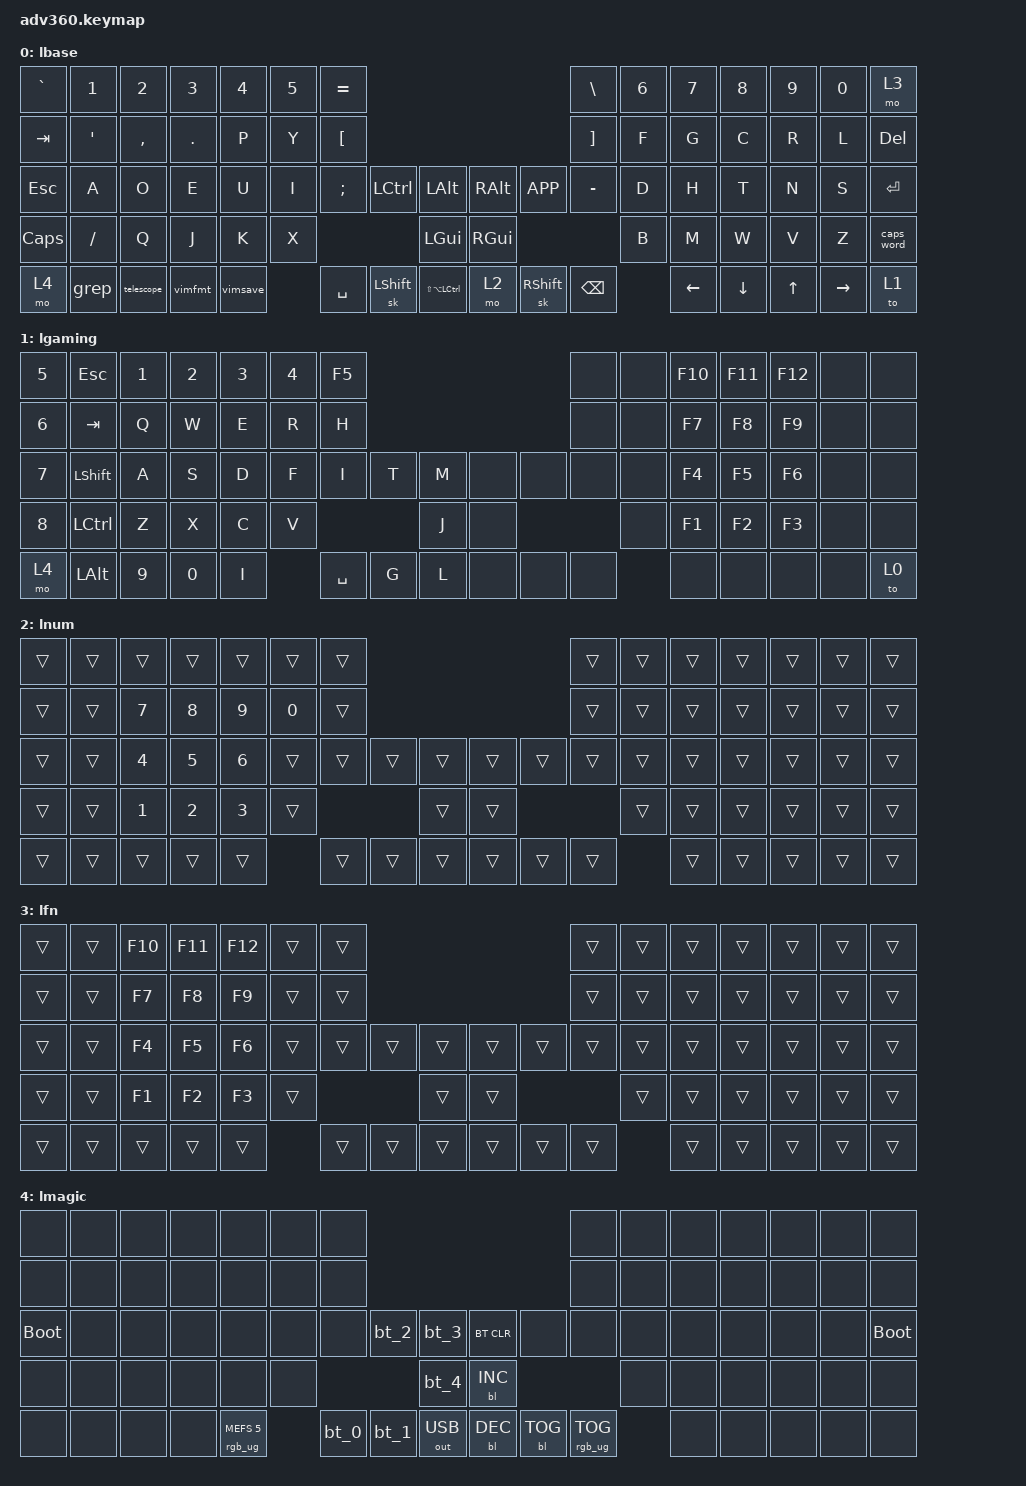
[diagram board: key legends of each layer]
#include <behaviors.dtsi>
#include <dt-bindings/zmk/backlight.h>
#include <dt-bindings/zmk/bt.h>
#include <dt-bindings/zmk/keys.h>
#include <dt-bindings/zmk/outputs.h>
#include <dt-bindings/zmk/rgb.h>

#define LBASE 0
#define LGAMING 1
#define LNAV 2
#define LNUM 3
#define LSYM 4
#define LFN 5
#define LMAGIC 6
#define HRM_A hrm LGUI A
#define HRM_O hrm LALT O
#define HRM_E hrm LCTRL E
#define HRM_U hrm_i LSHFT U
#define HRM_S hrm RGUI S
#define HRM_N hrm RALT N
#define HRM_T hrm RCTRL T
#define HRM_H hrm_i RSHFT H

&sk {
    quick-release;
    release-after-ms = <500>;
};

&sl { ignore-modifiers; };

/ {
    macros {
        bt_0: bt_0 {
            label = "BT_0";
            compatible = "zmk,behavior-macro";
            #binding-cells = <0>;
            bindings = <&out OUT_BLE &bt BT_SEL 0>;
        };

        bt_1: bt_1 {
            label = "BT_1";
            compatible = "zmk,behavior-macro";
            #binding-cells = <0>;
            bindings = <&out OUT_BLE &bt BT_SEL 1>;
        };

        bt_2: bt_2 {
            label = "BT_2";
            compatible = "zmk,behavior-macro";
            #binding-cells = <0>;
            bindings = <&out OUT_BLE &bt BT_SEL 2>;
        };

        bt_3: bt_3 {
            label = "BT_3";
            compatible = "zmk,behavior-macro";
            #binding-cells = <0>;
            bindings = <&out OUT_BLE &bt BT_SEL 3>;
        };

        bt_4: bt_4 {
            label = "BT_4";
            compatible = "zmk,behavior-macro";
            #binding-cells = <0>;
            bindings = <&out OUT_BLE &bt BT_SEL 4>;
        };

        vimsave: vimsave {
            compatible = "zmk,behavior-macro";
            #binding-cells = <0>;
            bindings = <&kp ESC &kp COLON &kp W &kp RET>;
            label = "VIMSAVE";
        };

        vimfmt: vimfmt {
            compatible = "zmk,behavior-macro";
            #binding-cells = <0>;
            bindings = <&kp ESCAPE &kp SPACE &kp F &kp F>;
            label = "VIMFMT";
        };

        telescope: telescope {
            compatible = "zmk,behavior-macro";
            #binding-cells = <0>;
            bindings = <&kp ESC &kp SPACE &kp P &kp F>;
            label = "TELESCOPE";
        };

        grep: grep {
            compatible = "zmk,behavior-macro";
            #binding-cells = <0>;
            bindings = <&kp ESC &kp SPACE &kp P &kp S>;
            label = "GREP";
        };
    };
};

/ {
    behaviors {
        plus_1: plus_1 {
            compatible = "zmk,behavior-mod-morph";
            label = "PLUS_1";
            bindings = <&kp PLUS>, <&kp NUMBER_1>;

            #binding-cells = <0>;
            mods = <(MOD_LSFT|MOD_RSFT)>;
            keep-mods = <(MOD_LCTL|MOD_LALT|MOD_LGUI|MOD_RCTL|MOD_RALT|MOD_RGUI)>;
        };

        lbrk_2: lbrk_2 {
            compatible = "zmk,behavior-mod-morph";
            label = "LBRK_2";
            bindings = <&kp LEFT_BRACKET>, <&kp NUMBER_2>;

            #binding-cells = <0>;
            mods = <(MOD_LSFT|MOD_RSFT)>;
            keep-mods = <(MOD_LCTL|MOD_LALT|MOD_LGUI|MOD_RCTL|MOD_RALT|MOD_RGUI)>;
        };

        lbrc_3: lbrc_3 {
            compatible = "zmk,behavior-mod-morph";
            label = "LBRC_3";
            bindings = <&kp LBRC>, <&kp NUMBER_3>;

            #binding-cells = <0>;
            mods = <(MOD_LSFT|MOD_RSFT)>;
            keep-mods = <(MOD_LCTL|MOD_LALT|MOD_LGUI|MOD_RCTL|MOD_RALT|MOD_RGUI)>;
        };

        lpar_4: lpar_4 {
            compatible = "zmk,behavior-mod-morph";
            label = "LPAR_4";
            bindings = <&kp LPAR>, <&kp NUMBER_4>;

            #binding-cells = <0>;
            mods = <(MOD_LSFT|MOD_RSFT)>;
            keep-mods = <(MOD_LCTL|MOD_LALT|MOD_LGUI|MOD_RCTL|MOD_RALT|MOD_RGUI)>;
        };

        amp_5: amp_5 {
            compatible = "zmk,behavior-mod-morph";
            label = "AMP_5";
            bindings = <&kp AMPS>, <&kp NUMBER_5>;

            #binding-cells = <0>;
            mods = <(MOD_LSFT|MOD_RSFT)>;
            keep-mods = <(MOD_LCTL|MOD_LALT|MOD_LGUI|MOD_RCTL|MOD_RALT|MOD_RGUI)>;
        };

        eq_6: eq_6 {
            compatible = "zmk,behavior-mod-morph";
            label = "EQ_6";
            bindings = <&kp EQUAL>, <&kp NUMBER_6>;

            #binding-cells = <0>;
            mods = <(MOD_LSFT|MOD_RSFT)>;
            keep-mods = <(MOD_LCTL|MOD_LALT|MOD_LGUI|MOD_RCTL|MOD_RALT|MOD_RGUI)>;
        };

        rpar_7: rpar_7 {
            compatible = "zmk,behavior-mod-morph";
            label = "RPAR_7";
            bindings = <&kp RPAR>, <&kp NUMBER_7>;

            #binding-cells = <0>;
            mods = <(MOD_LSFT|MOD_RSFT)>;
            keep-mods = <(MOD_LCTL|MOD_LALT|MOD_LGUI|MOD_RCTL|MOD_RALT|MOD_RGUI)>;
        };

        rbrc_8: rbrc_8 {
            compatible = "zmk,behavior-mod-morph";
            label = "RBRC_8";
            bindings = <&kp RBRC>, <&kp NUMBER_8>;

            #binding-cells = <0>;
            mods = <(MOD_LSFT|MOD_RSFT)>;
            keep-mods = <(MOD_LCTL|MOD_LALT|MOD_LGUI|MOD_RCTL|MOD_RALT|MOD_RGUI)>;
        };

        rbrk_9: rbrk_9 {
            compatible = "zmk,behavior-mod-morph";
            label = "RBRK_9";
            bindings = <&kp RIGHT_BRACKET>, <&kp N9>;

            #binding-cells = <0>;
            mods = <(MOD_LSFT|MOD_RSFT)>;
            keep-mods = <(MOD_LCTL|MOD_LALT|MOD_LGUI|MOD_RCTL|MOD_RALT|MOD_RGUI)>;
        };

        ast_0: ast_0 {
            compatible = "zmk,behavior-mod-morph";
            label = "AST_0";
            bindings = <&kp ASTRK>, <&kp NUMBER_0>;

            #binding-cells = <0>;
            mods = <(MOD_LSFT|MOD_RSFT)>;
            keep-mods = <(MOD_LCTL|MOD_LALT|MOD_LGUI|MOD_RCTL|MOD_RALT|MOD_RGUI)>;
        };

        exc_perc: exc_perc {
            compatible = "zmk,behavior-mod-morph";
            label = "EXC_PERC";
            bindings = <&kp EXCL>, <&kp PERCENT>;

            #binding-cells = <0>;
            mods = <(MOD_LSFT|MOD_RSFT)>;
            keep-mods = <(MOD_LCTL|MOD_LALT|MOD_LGUI|MOD_RCTL|MOD_RALT|MOD_RGUI)>;
        };

        pipe_bslsh: pipe_bslsh {
            compatible = "zmk,behavior-mod-morph";
            label = "PIPE_BSLSH";
            bindings = <&kp PIPE>, <&kp BSLH>;

            #binding-cells = <0>;
            mods = <(MOD_LSFT|MOD_RSFT)>;
            keep-mods = <(MOD_LCTL|MOD_LALT|MOD_LGUI|MOD_RCTL|MOD_RALT|MOD_RGUI)>;
        };

        dllr_tilde: dllr_tilde {
            compatible = "zmk,behavior-mod-morph";
            label = "DLLR_TILDE";
            bindings = <&kp DOLLAR>, <&kp TILDE>;

            #binding-cells = <0>;
            mods = <(MOD_LSFT|MOD_RSFT)>;
            keep-mods = <(MOD_LCTL|MOD_LALT|MOD_LGUI|MOD_RCTL|MOD_RALT|MOD_RGUI)>;
        };

        caret_at: caret_at {
            compatible = "zmk,behavior-mod-morph";
            label = "CARET_AT";
            bindings = <&kp CARET>, <&kp AT>;

            #binding-cells = <0>;
            mods = <(MOD_LSFT|MOD_RSFT)>;
            keep-mods = <(MOD_LCTL|MOD_LALT|MOD_LGUI|MOD_RCTL|MOD_RALT|MOD_RGUI)>;
        };

        bt_pound: bt_pound {
            compatible = "zmk,behavior-mod-morph";
            label = "BT_POUND";
            bindings = <&kp GRAVE>, <&kp POUND>;

            #binding-cells = <0>;
            mods = <(MOD_LSFT|MOD_RSFT)>;
            keep-mods = <(MOD_LCTL|MOD_LALT|MOD_LGUI|MOD_RCTL|MOD_RALT|MOD_RGUI)>;
        };
    };
};

/ {
    combos { compatible = "zmk,combos"; };

    keymap {
        compatible = "zmk,keymap";

        lbase {
            bindings = <
&kp GRAVE     &kp NUMBER_1  &kp NUMBER_2  &kp NUMBER_3  &kp NUMBER_4  &kp N5  &kp EQUAL                                                                 &kp BACKSLASH      &kp NUMBER_6  &kp N7    &kp N8    &kp N9  &kp N0     &mo 3
&kp TAB       &kp SQT       &kp COMMA     &kp DOT       &kp P         &kp Y   &kp LEFT_BRACKET                                                          &kp RIGHT_BRACKET  &kp F         &kp G     &kp C     &kp R   &kp L      &kp DELETE
&kp ESC       &kp A         &kp O         &kp E         &kp U         &kp I   &kp SEMI          &kp LCTRL   &kp LALT               &kp RALT  &kp K_APP  &kp MINUS          &kp D         &kp H     &kp T     &kp N   &kp S      &kp ENTER
&kp CAPSLOCK  &kp FSLH      &kp Q         &kp J         &kp K         &kp X                                 &kp LGUI               &kp RGUI                                &kp B         &kp M     &kp W     &kp V   &kp Z      &caps_word
&mo 4         &grep         &telescope    &vimfmt       &vimsave              &kp SPACE         &sk LSHIFT  &kp LS(LA(LCTRL))      &mo 2     &sk RSHFT  &kp BSPC                         &kp LEFT  &kp DOWN  &kp UP  &kp RIGHT  &to 1
            >;
        };

        lgaming {
            bindings = <
&kp N5  &kp ESC    &kp N1  &kp N2  &kp N3  &kp N4  &kp F5                                     &none  &none  &kp F10  &kp F11  &kp F12  &none  &none
&kp N6  &kp TAB    &kp Q   &kp W   &kp E   &kp R   &kp H                                      &none  &none  &kp F7   &kp F8   &kp F9   &none  &none
&kp N7  &kp LSHFT  &kp A   &kp S   &kp D   &kp F   &kp I      &kp T  &kp M      &none  &none  &none  &none  &kp F4   &kp F5   &kp F6   &none  &none
&kp N8  &kp LCTRL  &kp Z   &kp X   &kp C   &kp V                     &kp J      &none                &none  &kp F1   &kp F2   &kp F3   &none  &none
&mo 4   &kp LALT   &kp N9  &kp N0  &kp I           &kp SPACE  &kp G  &kp L      &none  &none  &none         &none    &none    &none    &none  &to 0
            >;
        };

        lnum {
            bindings = <
&trans  &trans  &trans  &trans  &trans  &trans  &trans                                      &trans  &trans  &trans  &trans  &trans  &trans  &trans
&trans  &trans  &kp N7  &kp N8  &kp N9  &kp N0  &trans                                      &trans  &trans  &trans  &trans  &trans  &trans  &trans
&trans  &trans  &kp N4  &kp N5  &kp N6  &trans  &trans  &trans  &trans      &trans  &trans  &trans  &trans  &trans  &trans  &trans  &trans  &trans
&trans  &trans  &kp N1  &kp N2  &kp N3  &trans                  &trans      &trans                  &trans  &trans  &trans  &trans  &trans  &trans
&trans  &trans  &trans  &trans  &trans          &trans  &trans  &trans      &trans  &trans  &trans          &trans  &trans  &trans  &trans  &trans
            >;
        };

        lfn {
            bindings = <
&trans  &trans  &kp F10  &kp F11  &kp F12  &trans  &trans                                      &trans  &trans  &trans  &trans  &trans  &trans  &trans
&trans  &trans  &kp F7   &kp F8   &kp F9   &trans  &trans                                      &trans  &trans  &trans  &trans  &trans  &trans  &trans
&trans  &trans  &kp F4   &kp F5   &kp F6   &trans  &trans  &trans  &trans      &trans  &trans  &trans  &trans  &trans  &trans  &trans  &trans  &trans
&trans  &trans  &kp F1   &kp F2   &kp F3   &trans                  &trans      &trans                  &trans  &trans  &trans  &trans  &trans  &trans
&trans  &trans  &trans   &trans   &trans           &trans  &trans  &trans      &trans  &trans  &trans          &trans  &trans  &trans  &trans  &trans
            >;
        };

        lmagic {
            bindings = <
&none        &none  &none  &none  &none                   &none  &none                                                   &none            &none  &none  &none  &none  &none  &none
&none        &none  &none  &none  &none                   &none  &none                                                   &none            &none  &none  &none  &none  &none  &none
&bootloader  &none  &none  &none  &none                   &none  &none  &bt_2  &bt_3             &bt BT_CLR  &none       &none            &none  &none  &none  &none  &none  &bootloader
&none        &none  &none  &none  &none                   &none                &bt_4             &bl BL_INC                               &none  &none  &none  &none  &none  &none
&none        &none  &none  &none  &rgb_ug RGB_MEFS_CMD 5         &bt_0  &bt_1  &out OUT_USB      &bl BL_DEC  &bl BL_TOG  &rgb_ug RGB_TOG         &none  &none  &none  &none  &none
            >;
        };
    };

    conditional_layers { compatible = "zmk,conditional-layers"; };
};
